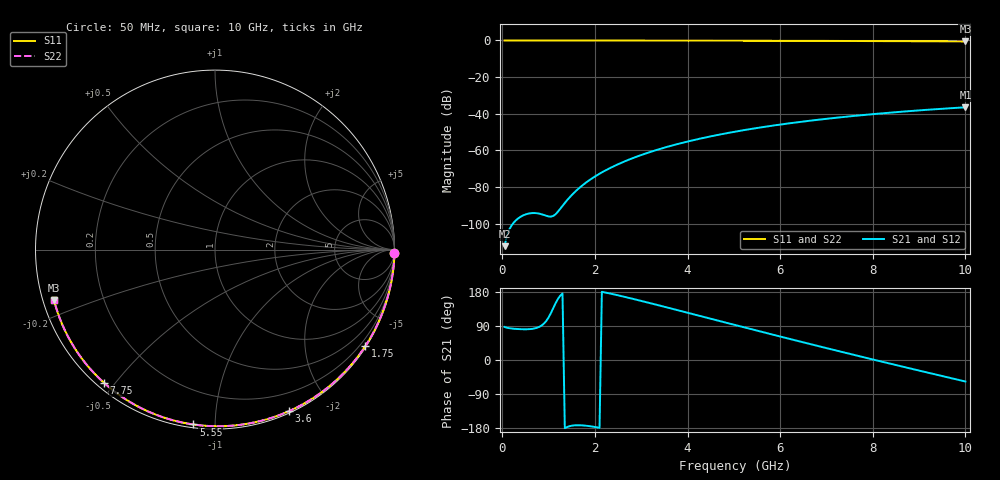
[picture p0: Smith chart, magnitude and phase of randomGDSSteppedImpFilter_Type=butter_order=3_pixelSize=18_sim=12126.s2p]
! freq	dB(S11)	phase(S11)	dB(S12)	phase(S12)
!  dB(S21)	phase(S21)	dB(S22)	phase(S22)
!S-par simulation data
#  GHz  S  DB  R 50
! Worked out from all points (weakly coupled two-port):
!   200 points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, 50 MHz to 10 GHz, reference 50 ohm
!   highest |S21| = -36.47 dB at 10 GHz (marker M1); lowest = -112.2 dB at 50 MHz (marker M2)
!   lowest |S11| = -0.5 dB at 10 GHz (marker M3), VSWR 32.35, Z = 1.58 - j7.65 ohm
!   |S11| at or under -10 dB: nowhere
!   |S22| runs from -0.5 to 0.0 dB; largest |S21 - S12| = 0
!   S11 on the Smith chart (normalised r, x): 50 MHz: open; 1.75 GHz: 0.03, -3.40; 3.6 GHz: 0.02, -1.56; 5.55 GHz: 0.02, -0.88; 7.75 GHz: 0.02, -0.47; 10 GHz: 0.03, -0.15
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0.05  -0.00 -1.0  -112.21 87.3  -112.21 87.3  -0.00 -1.0
0.45  -0.01 -8.6  -95.43 81.1  -95.43 81.1  -0.01 -8.6
0.85  -0.02 -16.1  -94.81 91.2  -94.81 91.2  -0.02 -16.1
1.65  -0.04 -31.0  -80.72 -172.1  -80.72 -172.1  -0.04 -31.0
1.7  -0.04 -31.9  -79.65 -172.3  -79.65 -172.3  -0.04 -31.9
1.75  -0.04 -32.8  -78.63 -172.7  -78.63 -172.7  -0.04 -32.8
1.9  -0.05 -35.5  -75.87 -174.8  -75.87 -174.8  -0.05 -35.5
2.05  -0.05 -38.3  -73.44 -177.8  -73.44 -177.8  -0.05 -38.3
2.25  -0.05 -41.9  -70.60 177.4  -70.60 177.4  -0.05 -41.9
2.45  -0.06 -45.5  -68.10 172.1  -68.10 172.1  -0.06 -45.5
2.9  -0.07 -53.4  -63.40 159.0  -63.40 159.0  -0.07 -53.4
3.4  -0.08 -62.1  -59.21 143.6  -59.21 143.6  -0.08 -62.1
3.6  -0.09 -65.5  -57.75 137.4  -57.75 137.4  -0.09 -65.5
4.3  -0.11 -77.2  -53.39 115.3  -53.39 115.3  -0.11 -77.2
5.05  -0.14 -89.2  -49.65 91.6  -49.65 91.6  -0.14 -89.2
5.55  -0.16 -97.1  -47.55 75.9  -47.55 75.9  -0.16 -97.1
6.1  -0.19 -105.5  -45.53 58.9  -45.53 58.9  -0.19 -105.5
6.7  -0.22 -114.5  -43.60 40.5  -43.60 40.5  -0.22 -114.5
7.75  -0.30 -129.9  -40.78 8.8  -40.78 8.8  -0.30 -129.9
8.35  -0.35 -138.5  -39.43 -8.9  -39.43 -8.9  -0.35 -138.6
9.2  -0.44 -150.8  -37.78 -33.7  -37.78 -33.7  -0.44 -150.9
10  -0.54 -162.6  -36.47 -56.8  -36.47 -56.8  -0.54 -162.6
